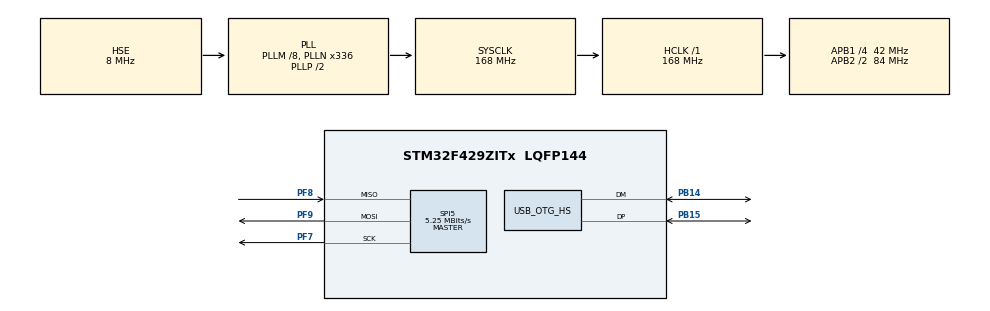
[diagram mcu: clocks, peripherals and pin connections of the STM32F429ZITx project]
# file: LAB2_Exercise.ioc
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Mcu.Family=STM32F4
Mcu.Name=STM32F429ZITx
Mcu.Package=LQFP144
NVIC.OTG_HS_IRQn=true\:0\:0\:false\:false\:true\:true\:true\:true
NVIC.PriorityGroup=NVIC_PRIORITYGROUP_4
PA13.Mode=Serial_Wire
PA13.Signal=SYS_JTMS-SWDIO
PA14.Mode=Serial_Wire
PA14.Signal=SYS_JTCK-SWCLK
PB14.Mode=Device_Only_FS
PB14.Signal=USB_OTG_HS_DM
PB15.Mode=Device_Only_FS
PB15.Signal=USB_OTG_HS_DP
PF7.Mode=Full_Duplex_Master
PF7.Signal=SPI5_SCK
PF8.Mode=Full_Duplex_Master
PF8.Signal=SPI5_MISO
PF9.Mode=Full_Duplex_Master
PF9.Signal=SPI5_MOSI
PH0/OSC_IN.Mode=HSE-External-Oscillator
PH0/OSC_IN.Signal=RCC_OSC_IN
PH1/OSC_OUT.Mode=HSE-External-Oscillator
PH1/OSC_OUT.Signal=RCC_OSC_OUT
ProjectManager.HeapSize=0x2000
ProjectManager.StackSize=0x400
ProjectManager.TargetToolchain=STM32CubeIDE
RCC.48MHZClocksFreq_Value=48000000
RCC.AHBFreq_Value=168000000
RCC.APB1CLKDivider=RCC_HCLK_DIV4
RCC.APB1Freq_Value=42000000
RCC.APB1TimFreq_Value=84000000
RCC.APB2CLKDivider=RCC_HCLK_DIV2
RCC.APB2Freq_Value=84000000
RCC.APB2TimFreq_Value=168000000
RCC.CortexFreq_Value=168000000
RCC.HCLKFreq_Value=168000000
RCC.HSE_VALUE=8000000
RCC.HSI_VALUE=16000000
RCC.LSE_VALUE=32768
RCC.PLLM=8
RCC.PLLN=336
RCC.PLLQ=7
RCC.SYSCLKFreq_VALUE=168000000
RCC.SYSCLKSource=RCC_SYSCLKSOURCE_PLLCLK
RCC.VCOOutputFreq_Value=336000000
SPI5.BaudRatePrescaler=SPI_BAUDRATEPRESCALER_16
SPI5.CalculateBaudRate=5.25 MBits/s
SPI5.Direction=SPI_DIRECTION_2LINES
SPI5.Mode=SPI_MODE_MASTER
SPI5.VirtualType=VM_MASTER
USB_DEVICE.CLASS_NAME_HS=CDC
USB_DEVICE.VirtualMode-CDC_HS=Cdc
USB_DEVICE.VirtualModeHS=Cdc_HS
USB_OTG_HS.VirtualMode-Device_Only_FS=Device_Only_FS
VP_USB_DEVICE_VS_USB_DEVICE_CDC_HS.Mode=CDC_HS
board=custom

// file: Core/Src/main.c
/* USER CODE BEGIN Header */
/**
  ******************************************************************************
  * @file           : main.c
  * @brief          : Main program body
  ******************************************************************************
  * @attention
  *
  * Copyright (c) 2022 STMicroelectronics.
  * All rights reserved.
  *
  * This software is licensed under terms that can be found in the LICENSE file
  * in the root directory of this software component.
  * If no LICENSE file comes with this software, it is provided AS-IS.
  *
  ******************************************************************************
  */
/* USER CODE END Header */
#include "main.h"
#include "usb_device.h"

/* USER CODE BEGIN Includes */
#include "l3gd20.h"
#include "stm32f429i_discovery_lcd.h"
#include "stm32f429i_discovery_gyroscope.h"
#include "stm32f429i_discovery_sdram.h"
#include <stdio.h>
#include "string.h"
#include "usbd_cdc_if.h"

/* USER CODE END Includes */

SPI_HandleTypeDef hspi5;

/* USER CODE BEGIN PV */
volatile uint32_t value;
uint8_t* buffer;
int receive = 0;
int count = 0;
/* USER CODE END PV */

void SystemClock_Config(void);
static void MX_GPIO_Init(void);
static void MX_SPI5_Init(void);

int main(void)
{
  /* USER CODE BEGIN 1 */
	float pfData[3] = {0};
	char angel1[20];
	char angel2[20];
	char angel3[20];
	Point UpArr [] = {{120, 0}, {110, 10}, {130, 10}};
	Point DownArr [] = {{120, 320}, {110, 310}, {130, 310}};
	Point LeftArr [] = {{0, 160}, {10, 150}, {10, 170}};
	Point RightArr [] = {{240, 160}, {230, 150}, {230, 170}};
  /* USER CODE END 1 */

  /* MCU Configuration--------------------------------------------------------*/

  /* Reset of all peripherals, Initializes the Flash interface and the Systick. */
  HAL_Init();

  /* USER CODE BEGIN Init */
  BSP_GYRO_Init();
  BSP_LCD_Init();
  HAL_SPI_Init(&hspi5);
  /* USER CODE END Init */

  /* Configure the system clock */
  SystemClock_Config();

  /* Initialize all configured peripherals */
  MX_USB_DEVICE_Init();
  MX_GPIO_Init();
  MX_SPI5_Init();
  /* USER CODE BEGIN 2 */
  BSP_SDRAM_Init();

  BSP_LCD_LayerDefaultInit(1, SDRAM_DEVICE_ADDR);
  BSP_LCD_SelectLayer(1);//select on which layer we write
  BSP_LCD_DisplayOn();//turn on LCD
  BSP_LCD_Clear(LCD_COLOR_BLUE);//clear the LCD on blue s
  BSP_LCD_SetBackColor(LCD_COLOR_BLUE);//set text background color
  BSP_LCD_SetTextColor(LCD_COLOR_WHITE);//set text color
  BSP_LCD_DrawCircle(120, 160, 120);
  BSP_LCD_SetFont(&Font24);
  BSP_LCD_GetFont();
  /* USER CODE END 2 */

  /* Infinite loop */
  while (1)
  {

    /* USER CODE BEGIN 3 */
	  BSP_GYRO_GetXYZ((float *) pfData);
	  HAL_Delay(750);
	  sprintf(angel1, "x rota: %.1f\n", pfData[0]);
	  CDC_Transmit_HS((uint8_t *) angel1, strlen(angel1));
	  sprintf(angel2, "y rota: %.1f\n", pfData[1]);
	  CDC_Transmit_HS((uint8_t *) angel2, strlen(angel2));
	  sprintf(angel3, "z rota: %.1f\n", pfData[2]);
	  BSP_LCD_DisplayStringAtLine(1, (uint8_t *) angel3);
	  BSP_LCD_Clear(LCD_COLOR_BLUE);
	  CDC_Transmit_HS((uint8_t *) angel3, strlen(angel3));

	  if (pfData[0] > 0) {
		  BSP_LCD_FillPolygon(DownArr, 3);
	  }
	  if (pfData[0] < 0) {
		  BSP_LCD_FillPolygon(UpArr, 3);
	  }
	  if (pfData[1] > 0) {
	  		BSP_LCD_FillPolygon(RightArr, 3);
	  	  }

	  if (pfData[1] < 0) {
	  	  	BSP_LCD_FillPolygon(LeftArr, 3);
  	  	  }

  }
  /* USER CODE END 3 */
}

void SystemClock_Config(void)
{
  RCC_OscInitTypeDef RCC_OscInitStruct = {0};
  RCC_ClkInitTypeDef RCC_ClkInitStruct = {0};

  /** Configure the main internal regulator output voltage
  */
  __HAL_RCC_PWR_CLK_ENABLE();
  __HAL_PWR_VOLTAGESCALING_CONFIG(PWR_REGULATOR_VOLTAGE_SCALE1);

  /** Initializes the RCC Oscillators according to the specified parameters
  * in the RCC_OscInitTypeDef structure.
  */
  RCC_OscInitStruct.OscillatorType = RCC_OSCILLATORTYPE_HSE;
  RCC_OscInitStruct.HSEState = RCC_HSE_ON;
  RCC_OscInitStruct.PLL.PLLState = RCC_PLL_ON;
  RCC_OscInitStruct.PLL.PLLSource = RCC_PLLSOURCE_HSE;
  RCC_OscInitStruct.PLL.PLLM = 8;
  RCC_OscInitStruct.PLL.PLLN = 336;
  RCC_OscInitStruct.PLL.PLLP = RCC_PLLP_DIV2;
  RCC_OscInitStruct.PLL.PLLQ = 7;
  if (HAL_RCC_OscConfig(&RCC_OscInitStruct) != HAL_OK)
  {
    Error_Handler();
  }

  /** Initializes the CPU, AHB and APB buses clocks
  */
  RCC_ClkInitStruct.ClockType = RCC_CLOCKTYPE_HCLK|RCC_CLOCKTYPE_SYSCLK
                              |RCC_CLOCKTYPE_PCLK1|RCC_CLOCKTYPE_PCLK2;
  RCC_ClkInitStruct.SYSCLKSource = RCC_SYSCLKSOURCE_PLLCLK;
  RCC_ClkInitStruct.AHBCLKDivider = RCC_SYSCLK_DIV1;
  RCC_ClkInitStruct.APB1CLKDivider = RCC_HCLK_DIV4;
  RCC_ClkInitStruct.APB2CLKDivider = RCC_HCLK_DIV2;

  if (HAL_RCC_ClockConfig(&RCC_ClkInitStruct, FLASH_LATENCY_5) != HAL_OK)
  {
    Error_Handler();
  }
}

static void MX_SPI5_Init(void)
{

  /* SPI5 parameter configuration*/
  hspi5.Instance = SPI5;
  hspi5.Init.Mode = SPI_MODE_MASTER;
  hspi5.Init.Direction = SPI_DIRECTION_2LINES;
  hspi5.Init.DataSize = SPI_DATASIZE_8BIT;
  hspi5.Init.CLKPolarity = SPI_POLARITY_LOW;
  hspi5.Init.CLKPhase = SPI_PHASE_1EDGE;
  hspi5.Init.NSS = SPI_NSS_SOFT;
  hspi5.Init.BaudRatePrescaler = SPI_BAUDRATEPRESCALER_16;
  hspi5.Init.FirstBit = SPI_FIRSTBIT_MSB;
  hspi5.Init.TIMode = SPI_TIMODE_DISABLE;
  hspi5.Init.CRCCalculation = SPI_CRCCALCULATION_DISABLE;
  hspi5.Init.CRCPolynomial = 10;
  if (HAL_SPI_Init(&hspi5) != HAL_OK)
  {
    Error_Handler();
  }

}

static void MX_GPIO_Init(void)
{

  /* GPIO Ports Clock Enable */
  __HAL_RCC_GPIOF_CLK_ENABLE();
  __HAL_RCC_GPIOH_CLK_ENABLE();
  __HAL_RCC_GPIOB_CLK_ENABLE();
  __HAL_RCC_GPIOA_CLK_ENABLE();

}

void Error_Handler(void)
{
  __disable_irq();
  while (1)
  {
  }
}
